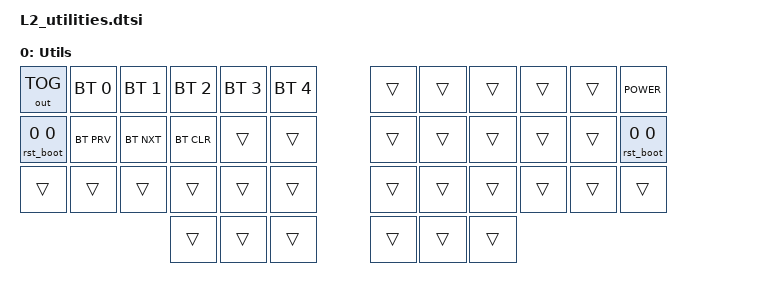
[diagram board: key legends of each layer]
/**
 * Utilities Layer - Keyboard Functions
 * Essential keyboard utilities for Bluetooth, output switching, and system functions
 * Activated by triple-tapping Ctrl (right pinky)
 */

/ {
  keymap {
    compatible = "zmk,keymap";

    utilities_layer {
      display-name = "Utils";
      bindings = <
// ╭───────────────┬───────────────┬───────────────┬───────────────┬───────────────┬───────────────╮   ╭───────────────┬───────────────┬───────────────┬───────────────┬───────────────┬───────────────╮
// │0   USB/BT     │1   BT 0       │2   BT 1       │3   BT 2       │4   BT 3       │5   BT 4       │   │6              │7              │8              │9              │10             │11  Power      │
    &out OUT_TOG    &bt BT_SEL 0    &bt BT_SEL 1    &bt BT_SEL 2    &bt BT_SEL 3    &bt BT_SEL 4        &trans          &trans          &trans          &trans          &trans          &kp C_POWER
// ├───────────────├───────────────┼───────────────┼───────────────┼───────────────┼───────────────┤   ├───────────────├───────────────┼───────────────┼───────────────┼───────────────┼───────────────┤
// │12  Reset      │13  BT Prev    │14  BT Next    │15  BT Clear   │16             │17             │   │18             │19             │20             │21             │22             │23  Reset      │
    &rst_boot 0 0   &bt BT_PRV      &bt BT_NXT      &bt BT_CLR      &trans          &trans              &trans          &trans          &trans          &trans          &trans          &rst_boot 0 0
// ├───────────────├───────────────┼───────────────┼───────────────┼───────────────┼───────────────┤   ├───────────────├───────────────┼───────────────┼───────────────┼───────────────┼───────────────┤
// │24             │25             │26             │27             │28             │29             │   │30             │31             │32             │33             │34             │35             │
    &trans          &trans          &trans          &trans          &trans          &trans              &trans          &trans          &trans          &trans          &trans          &trans
// ╰───────────────┴───────────────┴───────────────┼───────────────┼───────────────┼───────────────┤   ├───────────────├───────────────┼───────────────┼───────────────┴───────────────┴───────────────╯
//                                                 │36             │37             │38             │   │39             │40             │41             │
                                                    &trans          &trans          &trans              &trans          &trans          &trans
//                                                 ╰───────────────┴───────────────┴───────────────╯   ╰───────────────┴───────────────┴───────────────╯
      >;
    };
  };
};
